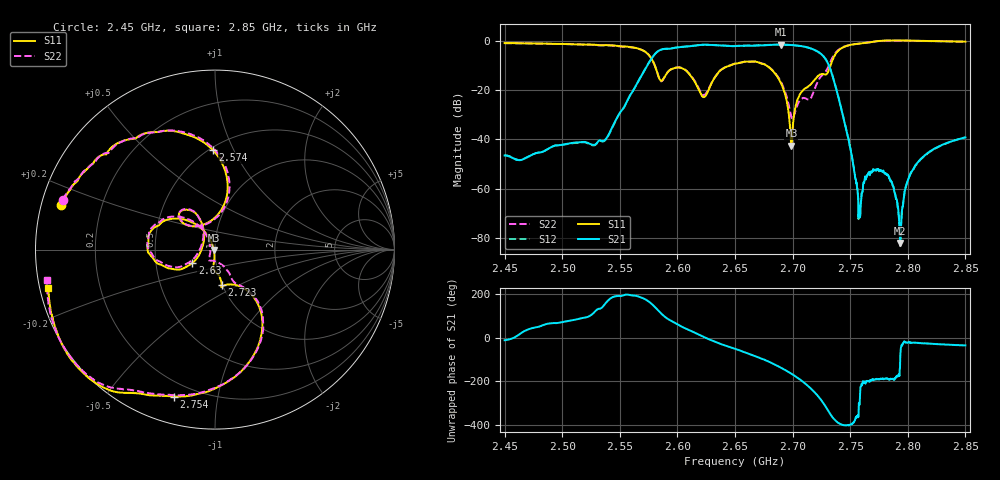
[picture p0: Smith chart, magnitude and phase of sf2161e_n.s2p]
!HP8753
# HZ S RI R 50
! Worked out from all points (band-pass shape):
!   1601 points, 2.45 GHz to 2.85 GHz, reference 50 ohm
!   highest |S21| = -1.62 dB at 2.69 GHz (marker M1); lowest = -82.0 dB at 2.793 GHz (marker M2)
!   |S21| within 3 dB of the highest: 2.582 GHz to 2.722 GHz (140.2 MHz wide, 5.28 % of centre)
!   lowest |S11| = -42.6 dB at 2.699 GHz (marker M3), VSWR 1.01, Z = 49.3 - j0.242 ohm
!   |S11| at or under -10 dB: 2.58 GHz to 2.646 GHz (65.91 MHz wide, 2.52 % of centre); 2.677 GHz to 2.733 GHz (55.92 MHz wide, 2.07 % of centre)
!   |S22| runs from -31.8 to 0.0 dB; largest |S21 - S12| = 0.012
!   S11 on the Smith chart (normalised r, x): 2.45 GHz: 0.06, +0.14; 2.574 GHz: 0.52, +0.83; 2.63 GHz: 0.77, -0.12; 2.723 GHz: 0.99, -0.40; 2.754 GHz: 0.13, -0.75; 2.85 GHz: 0.02, -0.11
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2.45e9  -0.859 0.2462  0.00464 -0.000907  0.00467 -0.000981  -0.8445 0.2771
2.51675e9  -0.6967 0.4678  -3.67e-05 0.0088  5.67e-05 0.00861  -0.6743 0.4839
2.538e9  -0.5881 0.5576  -0.00963 0.00331  -0.00946 0.00321  -0.5643 0.572
2.57375e9  -0.0121 0.5549  -0.3081 0.046  -0.3115 0.0426  0.00165 0.5529
2.5835e9  0.0126 0.1914  -0.3489 0.5098  -0.3541 0.5098  0.0189 0.1881
2.60075e9  -0.1914 0.213  0.3682 0.6343  0.3674 0.6414  -0.1905 0.2165
2.62225e9  -0.0666 0.0281  0.8217 0.0861  0.8232 0.0865  -0.0717 0.034
2.63025e9  -0.1265 -0.0745  0.7968 -0.1768  0.799 -0.1758  -0.1348 -0.0644
2.65e9  -0.3353 -0.0625  0.4991 -0.593  0.5063 -0.5979  -0.3399 -0.0434
2.68975e9  -0.0761 0.1176  -0.6014 -0.572  -0.6063 -0.5663  -0.0804 0.1235
2.699e9  -0.00701 -0.00246  -0.7861 -0.2143  -0.788 -0.2098  -0.0261 0.00934
2.70525e9  -0.00601 -0.0721  -0.7828 0.0909  -0.7827 0.0935  -0.0322 -0.0463
2.71675e9  0.0158 -0.1369  -0.3722 0.5727  -0.3725 0.5735  0.0193 -0.0727
2.72275e9  0.0364 -0.1952  0.0135 0.5795  0.0105 0.5816  0.0835 -0.1397
2.7355e9  0.2603 -0.368  0.163 -0.0281  0.1656 -0.0283  0.2686 -0.414
2.75425e9  -0.2302 -0.8186  0.00163 -0.000469  0.00164 -0.000464  -0.2563 -0.8089
2.7585e9  -0.3179 -0.8144  -2.44e-05 0.000261  -3.85e-05 0.000269  -0.3463 -0.8023
2.76625e9  -0.4519 -0.799  -0.00204 0.000624  -0.00202 0.000678  -0.4817 -0.7797
2.7835e9  -0.7357 -0.6852  -0.00172 0.000353  -0.00169 0.000366  -0.7609 -0.6503
2.7935e9  -0.8196 -0.5857  1.46e-05 -7.79e-05  3.6e-06 -6.84e-05  -0.8417 -0.5439
2.80825e9  -0.8815 -0.4582  0.00306 -0.0013  0.00301 -0.00125  -0.9008 -0.413
2.85e9  -0.9297 -0.2149  0.00902 -0.00623  0.00921 -0.006  -0.9366 -0.1667
